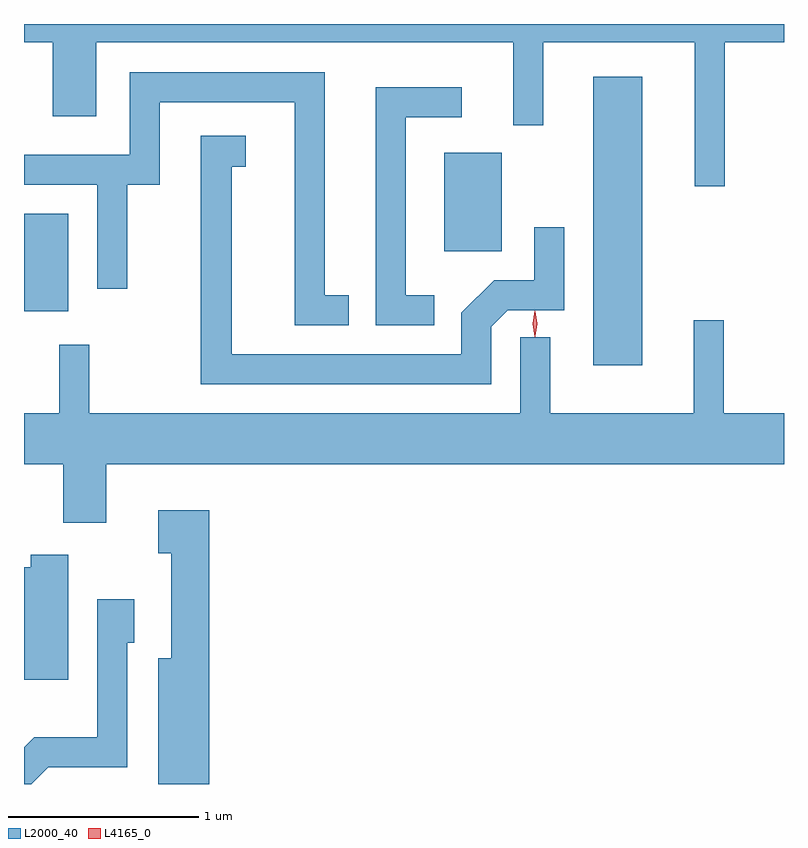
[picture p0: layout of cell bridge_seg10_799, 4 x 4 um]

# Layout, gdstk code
import gdstk
lib = gdstk.Library(unit=1e-6, precision=1e-09)
def R(c, l, rs):  # rectangles x0, y0, x1, y1
    for r in rs: c.add(gdstk.rectangle(r[:2], r[2:], *l))
def P(c, l, *ps):  # polygons
    for p in ps: c.add(gdstk.Polygon(p, *l))
L2000_40 = (2000, 40)
L4165_0 = (4165, 0)

bridge_seg10_799 = lib.new_cell('bridge_seg10_799')
R(bridge_seg10_799, L2000_40, [(332.216,2116.656,332.474,2118.174), (329.22,2116.941,329.454,2117.454), (331.431,2117.256,331.734,2117.774)])
P(bridge_seg10_799, L2000_40, [(332.909,2118.356),(333.22,2118.356),(333.22,2118.452),(329.22,2118.452),(329.22,2118.356),(329.371,2118.356),(329.371,2117.966),(329.599,2117.966),(329.599,2118.356),(331.796,2118.356),(331.796,2117.918),(331.954,2117.918),(331.954,2118.356),(332.751,2118.356),(332.751,2117.598),(332.909,2117.598)],
  [(330.928,2117.024),(330.804,2117.024),(330.804,2118.199),(329.776,2118.199),(329.776,2117.764),(329.22,2117.764),(329.22,2117.606),(329.606,2117.606),(329.606,2117.058),(329.764,2117.058),(329.764,2117.606),(329.934,2117.606),(329.934,2118.041),(330.646,2118.041),(330.646,2116.866),(330.928,2116.866)],
  [(331.378,2117.024),(331.229,2117.024),(331.229,2117.961),(331.523,2117.961),(331.523,2118.119),(331.071,2118.119),(331.071,2116.866),(331.378,2116.866)],
  [(331.679,2116.859),(331.767,2116.946),(332.064,2116.946),(332.064,2117.383),(331.906,2117.383),(331.906,2117.104),(331.694,2117.104),(331.521,2116.932),(331.521,2116.714),(330.314,2116.714),(330.314,2117.701),(330.388,2117.701),(330.388,2117.864),(330.151,2117.864),(330.151,2116.556),(331.679,2116.556)],
  [(329.654,2116.136),(333.22,2116.136),(333.22,2116.404),(332.904,2116.404),(332.904,2116.893),(332.746,2116.893),(332.746,2116.404),(331.989,2116.404),(331.989,2116.803),(331.831,2116.803),(331.831,2116.404),(329.564,2116.404),(329.564,2116.763),(329.406,2116.763),(329.406,2116.404),(329.22,2116.404),(329.22,2116.136),(329.426,2116.136),(329.426,2115.826),(329.654,2115.826)],
  [(330.194,2115.894),(329.926,2115.894),(329.926,2115.666),(329.996,2115.666),(329.996,2115.114),(329.926,2115.114),(329.926,2114.452),(330.194,2114.452)],
  [(329.454,2115.659),(329.256,2115.659),(329.256,2115.594),(329.22,2115.594),(329.22,2115.001),(329.454,2115.001)],
  [(329.347,2114.541),(329.764,2114.541),(329.764,2115.196),(329.799,2115.196),(329.799,2115.424),(329.606,2115.424),(329.606,2114.699),(329.274,2114.699),(329.22,2114.645),(329.22,2114.452),(329.258,2114.452)])
P(bridge_seg10_799, L4165_0, [(331.908,2116.804),(331.908,2116.805),(331.898,2116.874),(331.907,2116.943),(331.908,2116.943),(331.908,2116.943),(331.918,2116.874),(331.908,2116.805)],
  [(331.91,2116.807),(331.909,2116.808),(331.9,2116.874),(331.909,2116.94),(331.909,2116.941),(331.91,2116.94),(331.92,2116.874),(331.91,2116.808)])

lib.write_gds('bridge_seg10_799.gds')
